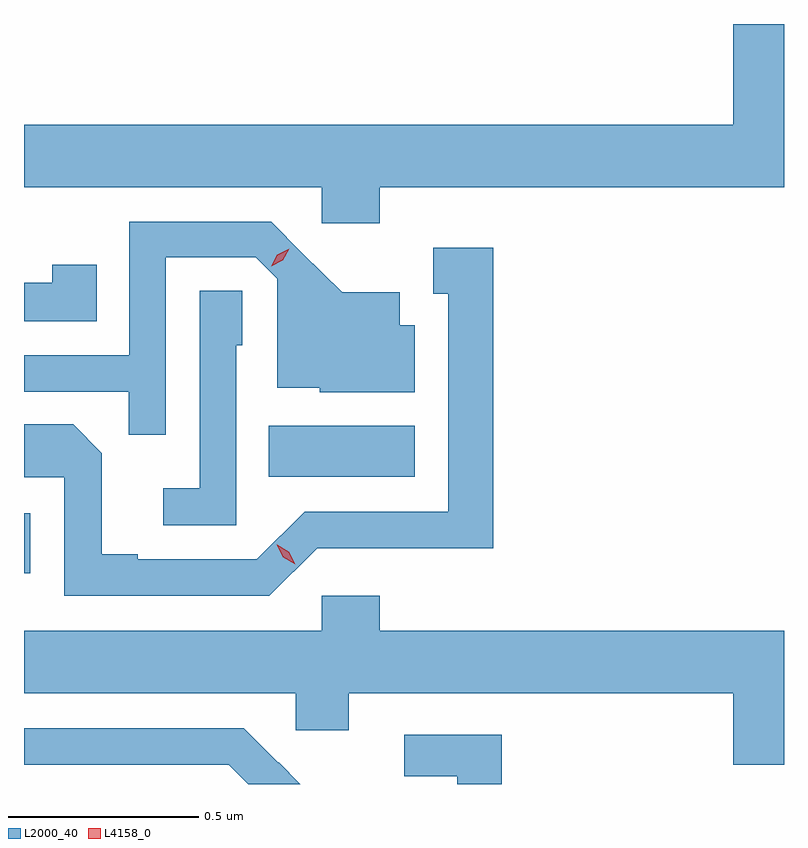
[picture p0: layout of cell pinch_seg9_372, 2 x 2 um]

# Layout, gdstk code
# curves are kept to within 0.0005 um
import gdstk
lib = gdstk.Library(unit=1e-6, precision=1e-09)
def R(c, l, rs):  # rectangles x0, y0, x1, y1
    for r in rs: c.add(gdstk.rectangle(r[:2], r[2:], *l))
def P(c, l, *ps):  # polygons
    for p in ps: c.add(gdstk.Polygon(p, *l))
L2000_40 = (2000, 40)
L4158_0 = (4158, 0)

pinch_seg9_372 = lib.new_cell('pinch_seg9_372')
R(pinch_seg9_372, L2000_40, [(618.686,1184.747,618.703,1184.905), (619.33,1185.002,619.714,1185.136)])
P(pinch_seg9_372, L2000_40, [(619.622,1185.764),(620.686,1185.764),(620.686,1186.193),(620.552,1186.193),(620.552,1185.928),(618.686,1185.928),(618.686,1185.764),(619.47,1185.764),(619.47,1185.669),(619.622,1185.669)],
  [(619.059,1185.579),(619.296,1185.579),(619.353,1185.522),(619.353,1185.236),(619.464,1185.236),(619.464,1185.224),(619.714,1185.224),(619.714,1185.4),(619.675,1185.4),(619.675,1185.487),(619.523,1185.487),(619.336,1185.672),(618.963,1185.672),(618.963,1185.321),(618.686,1185.321),(618.686,1185.225),(618.961,1185.225),(618.961,1185.112),(619.059,1185.112)],
  [(619.458,1184.814),(619.68,1184.814),(619.68,1184.813),(619.921,1184.813),(619.921,1185.604),(619.763,1185.604),(619.763,1185.483),(619.802,1185.483),(619.802,1184.91),(619.425,1184.91),(619.299,1184.784),(618.985,1184.784),(618.985,1184.797),(618.891,1184.797),(618.891,1185.064),(618.815,1185.14),(618.686,1185.14),(618.686,1185),(618.792,1185),(618.792,1184.688),(619.332,1184.688)],
  [(618.878,1185.559),(618.76,1185.559),(618.76,1185.512),(618.686,1185.512),(618.686,1185.411),(618.878,1185.411)],
  [(619.245,1185.348),(619.26,1185.348),(619.26,1185.491),(619.149,1185.491),(619.149,1184.971),(619.053,1184.971),(619.053,1184.874),(619.245,1184.874)],
  [(620.686,1184.596),(619.622,1184.596),(619.622,1184.689),(619.47,1184.689),(619.47,1184.596),(618.686,1184.596),(618.686,1184.432),(619.401,1184.432),(619.401,1184.334),(619.54,1184.334),(619.54,1184.432),(620.552,1184.432),(620.552,1184.244),(620.686,1184.244)],
  [(619.356,1184.25),(619.355,1184.249),(619.264,1184.34),(618.686,1184.34),(618.686,1184.244),(619.225,1184.244),(619.276,1184.193),(619.413,1184.193)],
  [(619.943,1184.322),(619.686,1184.322),(619.686,1184.214),(619.826,1184.214),(619.826,1184.193),(619.943,1184.193)])
P(pinch_seg9_372, L4158_0, [(619.4,1184.771),(619.368,1184.79),(619.351,1184.823),(619.351,1184.823),(619.352,1184.823),(619.383,1184.804),(619.4,1184.771),(619.4,1184.771)],
  [(619.336,1185.556),(619.336,1185.556),(619.353,1185.586),(619.384,1185.601),(619.384,1185.601),(619.384,1185.601),(619.367,1185.571),(619.336,1185.556)])

lib.write_gds('pinch_seg9_372.gds')
